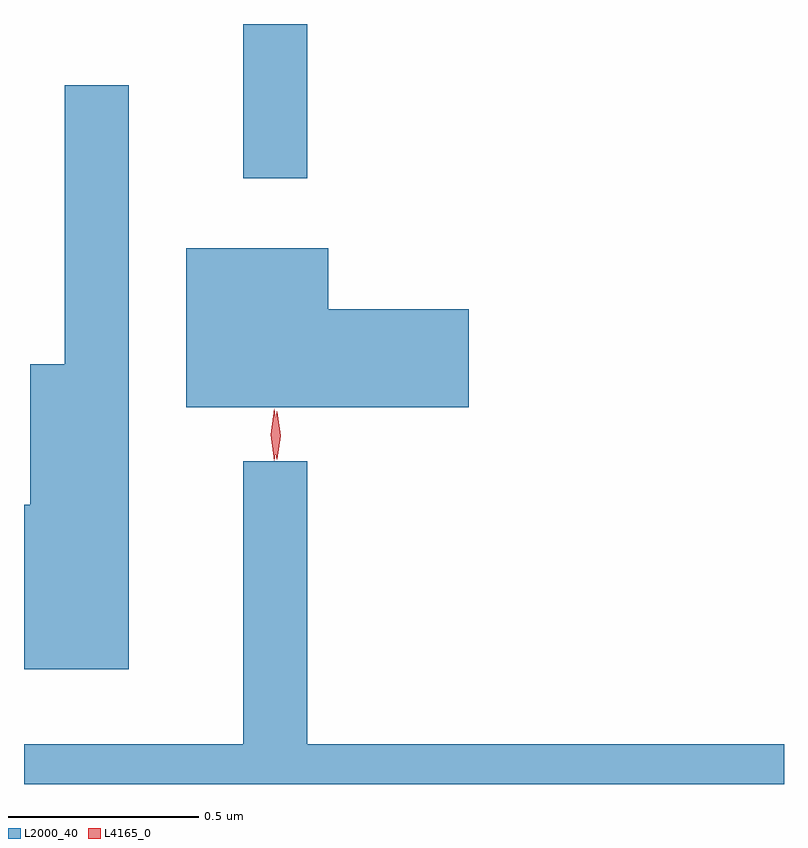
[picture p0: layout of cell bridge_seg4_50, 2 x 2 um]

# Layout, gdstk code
import gdstk
lib = gdstk.Library(unit=1e-6, precision=1e-09)
def R(c, l, rs):  # rectangles x0, y0, x1, y1
    for r in rs: c.add(gdstk.rectangle(r[:2], r[2:], *l))
def P(c, l, *ps):  # polygons
    for p in ps: c.add(gdstk.Polygon(p, *l))
L2000_40 = (2000, 40)
L4165_0 = (4165, 0)

bridge_seg4_50 = lib.new_cell('bridge_seg4_50')
R(bridge_seg4_50, L2000_40, [(1301.221,1347.553,1301.389,1347.959)])
P(bridge_seg4_50, L2000_40, [(1300.919,1347.798),(1300.751,1347.798),(1300.751,1347.064),(1300.661,1347.064),(1300.661,1346.694),(1300.644,1346.694),(1300.644,1346.261),(1300.919,1346.261)],
  [(1301.814,1347.209),(1301.444,1347.209),(1301.444,1347.369),(1301.071,1347.369),(1301.071,1346.951),(1301.814,1346.951)],
  [(1302.644,1346.064),(1301.389,1346.064),(1301.389,1346.808),(1301.221,1346.808),(1301.221,1346.064),(1300.644,1346.064),(1300.644,1345.959),(1302.644,1345.959)])
P(bridge_seg4_50, L4165_0, [(1301.309,1346.813),(1301.309,1346.813),(1301.299,1346.876),(1301.309,1346.939),(1301.309,1346.94),(1301.31,1346.939),(1301.319,1346.876),(1301.31,1346.813)],
  [(1301.302,1346.81),(1301.293,1346.878),(1301.302,1346.946),(1301.302,1346.946),(1301.303,1346.946),(1301.312,1346.878),(1301.303,1346.81),(1301.303,1346.81)])

lib.write_gds('bridge_seg4_50.gds')
